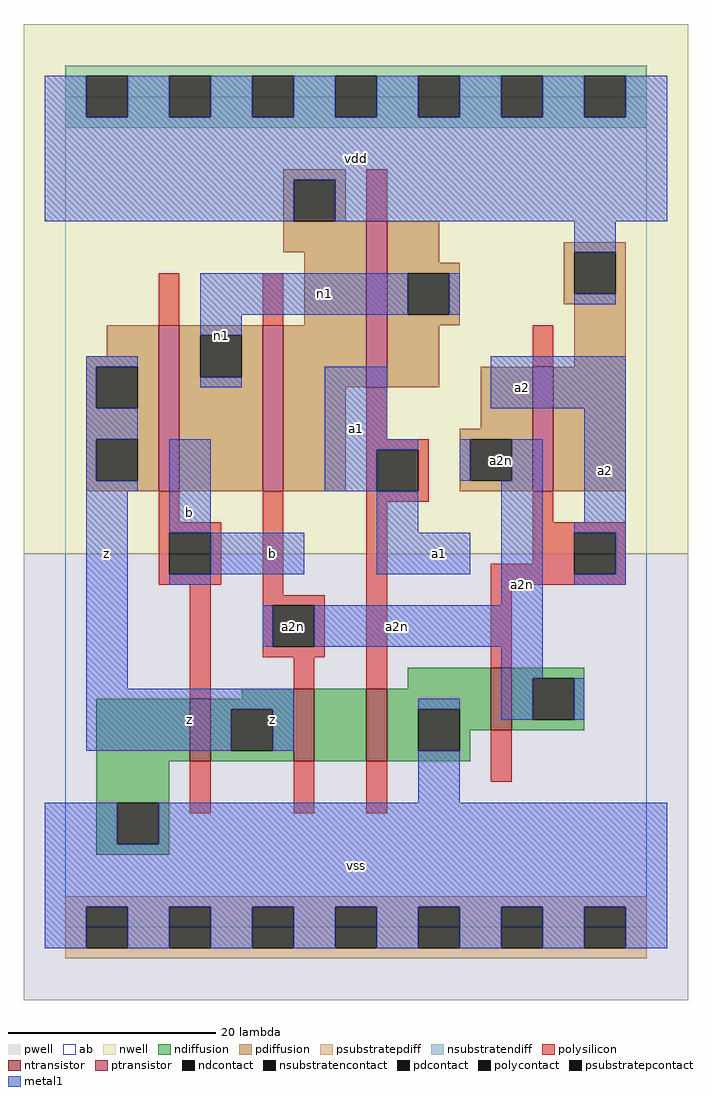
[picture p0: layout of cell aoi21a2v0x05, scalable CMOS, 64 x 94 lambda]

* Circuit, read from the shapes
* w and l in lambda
.subckt aoi21a2v0x05 a1 a2 a2n b n1 vdd vss z
M1 z b vss vss nfet w=6 l=2
M2 n2 a2n z vss nfet w=7 l=2
M3 vss a1 n2 vss nfet w=7 l=2
M4 a2n a2 vss vss nfet w=6 l=2
M5 n1 b z vdd pfet w=16 l=2
M6 vdd a2n n1 vdd pfet w=16 l=2
M7 n1 a1 vdd vdd pfet w=16 l=2
M8 vdd a2 a2n vdd pfet w=12 l=2
.ends

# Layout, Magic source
magic
tech scmos
<< ab >>
rect 0 0 56 80
<< pwell >>
rect -4 -7 60 36
<< nwell >>
rect -4 36 60 87
<< polysilicon >>
rect 29 68 31 73
rect 9 58 11 63
rect 19 58 21 63
rect 45 54 47 58
rect 29 47 31 52
rect 29 46 35 47
rect 29 42 30 46
rect 34 42 35 46
rect 9 39 11 42
rect 9 38 15 39
rect 9 34 10 38
rect 14 34 15 38
rect 9 33 15 34
rect 12 22 14 33
rect 19 32 21 42
rect 29 41 35 42
rect 19 31 25 32
rect 19 27 20 31
rect 24 27 25 31
rect 19 26 25 27
rect 22 23 24 26
rect 29 23 31 41
rect 45 39 47 42
rect 45 38 54 39
rect 45 35 49 38
rect 41 34 49 35
rect 53 34 54 38
rect 41 33 54 34
rect 41 25 43 33
rect 12 11 14 16
rect 22 11 24 16
rect 29 11 31 16
rect 41 14 43 19
<< ndiffusion >>
rect 33 23 41 25
rect 17 22 22 23
rect 3 16 12 22
rect 14 21 22 22
rect 14 17 16 21
rect 20 17 22 21
rect 14 16 22 17
rect 24 16 29 23
rect 31 21 41 23
rect 31 17 34 21
rect 38 19 41 21
rect 43 24 50 25
rect 43 20 45 24
rect 49 20 50 24
rect 43 19 50 20
rect 38 17 39 19
rect 31 16 39 17
rect 3 12 10 16
rect 3 8 5 12
rect 9 8 10 12
rect 3 7 10 8
<< pdiffusion >>
rect 21 72 27 73
rect 21 68 22 72
rect 26 68 27 72
rect 21 65 29 68
rect 23 58 29 65
rect 4 55 9 58
rect 2 54 9 55
rect 2 50 3 54
rect 7 50 9 54
rect 2 47 9 50
rect 2 43 3 47
rect 7 43 9 47
rect 2 42 9 43
rect 11 57 19 58
rect 11 53 13 57
rect 17 53 19 57
rect 11 42 19 53
rect 21 52 29 58
rect 31 64 36 68
rect 48 65 54 66
rect 31 63 38 64
rect 31 59 33 63
rect 37 59 38 63
rect 48 61 49 65
rect 53 61 54 65
rect 48 60 54 61
rect 31 58 38 59
rect 31 52 36 58
rect 49 54 54 60
rect 21 42 27 52
rect 40 48 45 54
rect 38 47 45 48
rect 38 43 39 47
rect 43 43 45 47
rect 38 42 45 43
rect 47 42 54 54
<< metal1 >>
rect -2 78 2 82
rect 6 78 10 82
rect 14 78 18 82
rect 22 78 26 82
rect 30 78 34 82
rect 38 78 42 82
rect 46 78 50 82
rect 54 78 58 82
rect -2 72 58 78
rect -2 68 22 72
rect 26 68 58 72
rect 49 65 53 68
rect 13 59 33 63
rect 37 59 38 63
rect 49 60 53 61
rect 13 57 17 59
rect 2 54 7 55
rect 2 50 3 54
rect 13 52 17 53
rect 2 47 7 50
rect 25 47 31 54
rect 41 50 54 55
rect 2 43 3 47
rect 2 42 7 43
rect 2 23 6 42
rect 10 38 14 47
rect 25 46 34 47
rect 25 42 30 46
rect 38 43 39 47
rect 43 43 46 47
rect 30 38 34 42
rect 14 34 23 38
rect 30 34 39 38
rect 10 33 14 34
rect 42 31 46 43
rect 50 39 54 50
rect 49 38 54 39
rect 53 34 54 38
rect 49 33 54 34
rect 19 27 20 31
rect 24 27 46 31
rect 42 24 46 27
rect 2 21 22 23
rect 2 17 16 21
rect 20 17 22 21
rect 34 21 38 22
rect 42 20 45 24
rect 49 20 50 24
rect 34 12 38 17
rect -2 8 5 12
rect 9 8 58 12
rect -2 2 58 8
rect -2 -2 2 2
rect 6 -2 10 2
rect 14 -2 18 2
rect 22 -2 26 2
rect 30 -2 34 2
rect 38 -2 42 2
rect 46 -2 50 2
rect 54 -2 58 2
<< ntransistor >>
rect 12 16 14 22
rect 22 16 24 23
rect 29 16 31 23
rect 41 19 43 25
<< ptransistor >>
rect 9 42 11 58
rect 19 42 21 58
rect 29 52 31 68
rect 45 42 47 54
<< polycontact >>
rect 30 42 34 46
rect 10 34 14 38
rect 20 27 24 31
rect 49 34 53 38
<< ndcontact >>
rect 16 17 20 21
rect 34 17 38 21
rect 45 20 49 24
rect 5 8 9 12
<< pdcontact >>
rect 22 68 26 72
rect 3 50 7 54
rect 3 43 7 47
rect 13 53 17 57
rect 33 59 37 63
rect 49 61 53 65
rect 39 43 43 47
<< psubstratepcontact >>
rect 2 -2 6 2
rect 10 -2 14 2
rect 18 -2 22 2
rect 26 -2 30 2
rect 34 -2 38 2
rect 42 -2 46 2
rect 50 -2 54 2
<< nsubstratencontact >>
rect 2 78 6 82
rect 10 78 14 82
rect 18 78 22 82
rect 26 78 30 82
rect 34 78 38 82
rect 42 78 46 82
rect 50 78 54 82
<< psubstratepdiff >>
rect 0 2 56 3
rect 0 -2 2 2
rect 6 -2 10 2
rect 14 -2 18 2
rect 22 -2 26 2
rect 30 -2 34 2
rect 38 -2 42 2
rect 46 -2 50 2
rect 54 -2 56 2
rect 0 -3 56 -2
<< nsubstratendiff >>
rect 0 82 56 83
rect 0 78 2 82
rect 6 78 10 82
rect 14 78 18 82
rect 22 78 26 82
rect 30 78 34 82
rect 38 78 42 82
rect 46 78 50 82
rect 54 78 56 82
rect 0 77 56 78
<< labels >>
rlabel polycontact 22 29 22 29 6 a2n
rlabel metal1 4 36 4 36 6 z
rlabel metal1 12 20 12 20 6 z
rlabel metal1 12 40 12 40 6 b
rlabel metal1 15 57 15 57 6 n1
rlabel metal1 28 6 28 6 6 vss
rlabel metal1 20 20 20 20 6 z
rlabel metal1 20 36 20 36 6 b
rlabel metal1 28 48 28 48 6 a1
rlabel metal1 28 74 28 74 6 vdd
rlabel metal1 44 33 44 33 6 a2n
rlabel metal1 32 29 32 29 6 a2n
rlabel metal1 36 36 36 36 6 a1
rlabel pdcontact 42 45 42 45 6 a2n
rlabel metal1 44 52 44 52 6 a2
rlabel metal1 25 61 25 61 6 n1
rlabel metal1 52 44 52 44 6 a2
<< end >>
